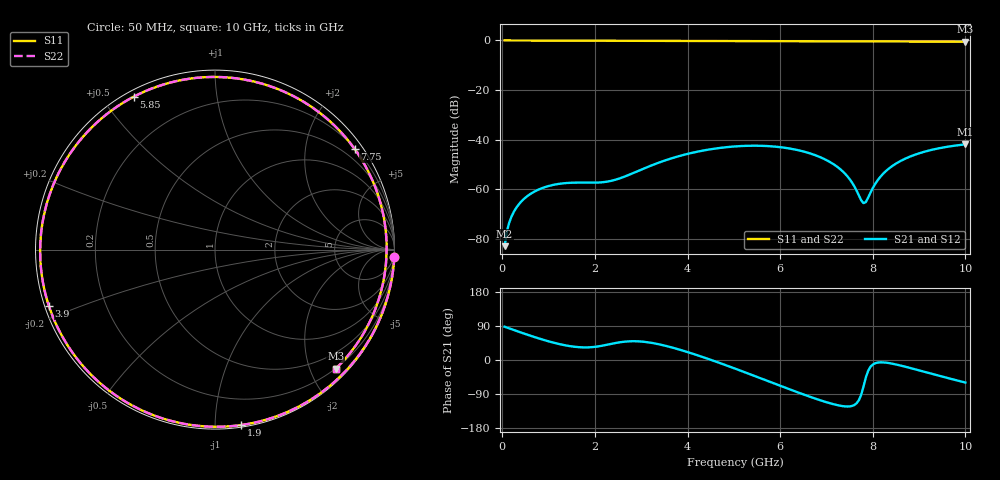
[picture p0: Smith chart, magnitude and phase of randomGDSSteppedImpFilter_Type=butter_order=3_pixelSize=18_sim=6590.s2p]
! freq	dB(S11)	phase(S11)	dB(S12)	phase(S12)
!  dB(S21)	phase(S21)	dB(S22)	phase(S22)
!S-par simulation data
#  GHz  S  DB  R 50
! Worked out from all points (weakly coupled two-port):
!   200 points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, 50 MHz to 10 GHz, reference 50 ohm
!   highest |S21| = -41.87 dB at 10 GHz (marker M1); lowest = -82.9 dB at 50 MHz (marker M2)
!   lowest |S11| = -0.5 dB at 10 GHz (marker M3), VSWR 35.15, Z = 9.84 - j121 ohm
!   |S11| at or under -10 dB: nowhere
!   |S22| runs from -0.5 to 0.0 dB; largest |S21 - S12| = 0
!   S11 on the Smith chart (normalised r, x): 50 MHz: 0, -52; 1.9 GHz: 0.01, -1.16; 3.9 GHz: 0.01, -0.16; 5.85 GHz: 0.02, +0.60; 7.75 GHz: 0.22, +3.08; 10 GHz: 0.20, -2.43
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0.05  -0.00 -2.2  -82.87 87.8  -82.87 87.8  -0.00 -2.2
0.15  -0.01 -6.6  -73.37 83.4  -73.37 83.4  -0.01 -6.6
0.25  -0.02 -11.0  -69.00 79.1  -69.00 79.1  -0.02 -11.0
0.55  -0.03 -24.1  -62.58 66.4  -62.58 66.4  -0.03 -24.1
1.05  -0.06 -45.8  -58.40 47.6  -58.40 47.6  -0.06 -45.7
1.75  -0.09 -75.2  -57.28 33.3  -57.28 33.3  -0.09 -75.2
1.9  -0.10 -81.4  -57.31 33.6  -57.31 33.6  -0.10 -81.4
2.6  -0.14 -109.8  -55.14 47.8  -55.14 47.8  -0.14 -109.8
3.4  -0.17 -141.5  -49.08 41.0  -49.08 41.0  -0.17 -141.5
3.9  -0.20 -161.3  -46.18 24.7  -46.18 24.7  -0.20 -161.3
4.5  -0.24 174.6  -43.83 0.6  -43.83 0.6  -0.24 174.6
5.05  -0.27 152.0  -42.66 -23.8  -42.66 -23.8  -0.27 152.0
5.85  -0.31 117.9  -42.71 -61.0  -42.71 -61.0  -0.31 118.0
6.7  -0.34 80.8  -45.84 -99.4  -45.84 -99.4  -0.34 80.8
7.35  -0.36 52.6  -52.73 -121.7  -52.73 -121.7  -0.36 52.7
7.55  -0.36 44.2  -57.18 -121.4  -57.18 -121.4  -0.36 44.2
7.75  -0.36 35.8  -64.39 -91.7  -64.39 -91.7  -0.36 35.9
7.85  -0.37 31.7  -65.10 -46.2  -65.10 -46.2  -0.37 31.8
8.1  -0.37 21.7  -56.47 -7.0  -56.47 -7.0  -0.37 21.7
8.35  -0.38 11.9  -51.57 -8.1  -51.57 -8.1  -0.38 12.0
9  -0.41 -11.9  -45.47 -27.3  -45.47 -27.3  -0.41 -11.9
10  -0.49 -44.6  -41.87 -59.5  -41.87 -59.5  -0.49 -44.6
